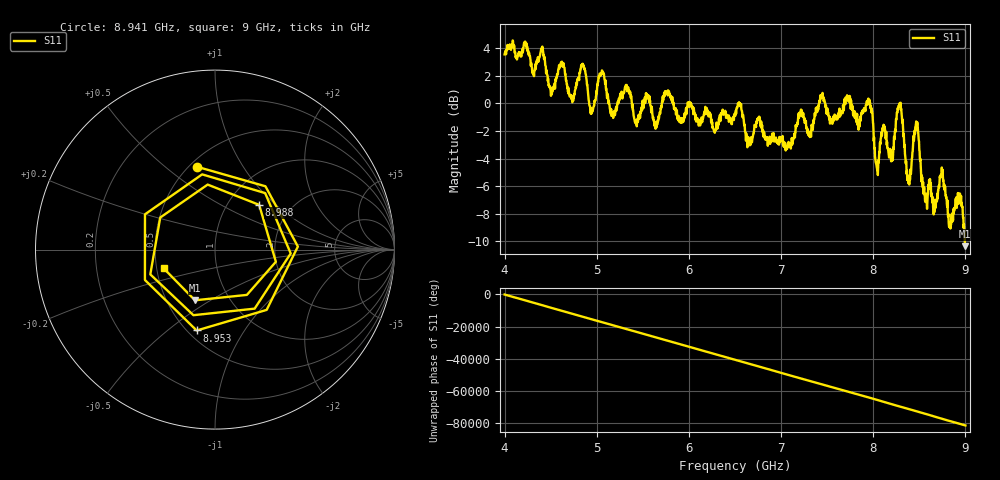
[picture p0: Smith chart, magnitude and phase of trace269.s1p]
! Created with skrf 1.8.0 (http://scikit-rf.org).
# Hz S RI R 50.0
!freq ReS11 ImS11
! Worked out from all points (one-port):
!   1601 points, 4 GHz to 9 GHz, reference 50 ohm
!   lowest |S11| = -10.4 dB at 8.997 GHz (marker M1), VSWR 1.87, Z = 34.5 - j21.5 ohm
!   |S11| at or under -10 dB: 8.993359 GHz to end of sweep
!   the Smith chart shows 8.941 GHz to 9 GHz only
!   S11 on the Smith chart (normalised r, x): 8.941 GHz: 0.55, +0.65; 8.953 GHz: 0.55, -0.64; 8.988 GHz: 1.39, +0.79; 9 GHz: 0.55, -0.13
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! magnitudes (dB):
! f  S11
! 4 GHz  3.6
! 4.409 GHz  4.1
! 4.509 GHz  0.7
! 4.625 GHz  2.8
! 4.728 GHz  0.3
! 4.856 GHz  2.7
! 4.944 GHz  -0.6
! 5.053 GHz  2.3
! 5.166 GHz  -0.8
! 5.25 GHz  0.5
! 5.875 GHz  -1.1
! 6.5 GHz  -0.9
! 7.125 GHz  -2.7
! 7.441 GHz  0.6
! 7.75 GHz  0.0
! 7.966 GHz  0.1
! 8.044 GHz  -4.9
! 8.106 GHz  -1.7
! 8.197 GHz  -4.2
! 8.288 GHz  0.0
! 8.375 GHz  -5.6
! 8.469 GHz  -1.4
! 8.569 GHz  -6.8
! 8.941 GHz  -6.5
! 8.953 GHz  -6.7
! 8.988 GHz  -9.1
! 8.997 GHz  -10.4
! 9 GHz  -10.3
